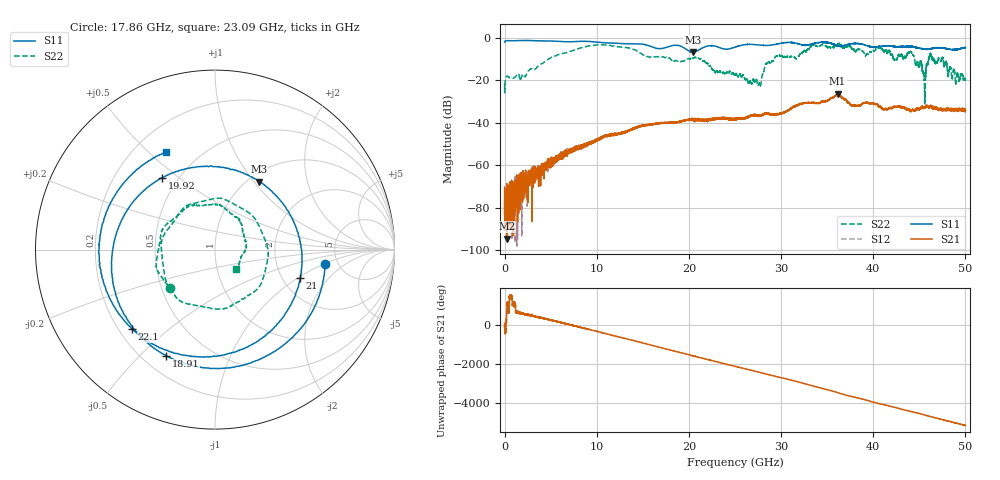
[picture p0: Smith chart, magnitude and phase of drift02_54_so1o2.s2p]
!Created with skrf (http://scikit-rf.org).
# Hz S RI R 50.0
!freq ReS11 ImS11 ReS21 ImS21 ReS12 ImS12 ReS22 ImS22
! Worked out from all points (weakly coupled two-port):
!   10001 points, 300 kHz to 50 GHz, reference 50 ohm
!   highest |S21| = -26.28 dB at 36.13 GHz (marker M1); lowest = -94.4 dB at 265.3 MHz (marker M2)
!   lowest |S11| = -6.9 dB at 20.42 GHz (marker M3), VSWR 2.64, Z = 55.9 + j53.1 ohm
!   |S11| at or under -10 dB: nowhere
!   |S22| runs from -31.5 to -2.6 dB; largest |S21 - S12| = 0.0054
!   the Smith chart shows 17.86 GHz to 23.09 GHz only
!   S11 on the Smith chart (normalised r, x): 17.86 GHz: 3.95, -1.06; 18.91 GHz: 0.29, -0.60; 19.92 GHz: 0.41, +0.44; 21 GHz: 2.49, -1.06; 22.1 GHz: 0.25, -0.38; 23.09 GHz: 0.33, +0.57
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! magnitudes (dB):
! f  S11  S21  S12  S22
! 300 kHz  -2.1  -77.2  -69.7  -21.7
! 265.3 MHz  -1.4  -94.4  -74.3  -18.2
! 8.335 GHz  -1.7  -50.3  -51.3  -4.7
! 16.67 GHz  -5.2  -40.5  -40.3  -9.0
! 17.86 GHz  -4.2  -40.0  -40.0  -9.6
! 18.91 GHz  -3.7  -39.8  -39.7  -10.8
! 19.92 GHz  -6.1  -38.6  -38.9  -9.9
! 20.42 GHz  -6.9  -38.5  -38.2  -9.8
! 21 GHz  -6.0  -38.8  -38.7  -9.4
! 22.1 GHz  -3.9  -38.6  -38.8  -12.6
! 23.09 GHz  -4.3  -37.9  -38.0  -15.9
! 25 GHz  -4.5  -38.0  -38.1  -17.7
! 27.63 GHz  -3.5  -36.7  -36.5  -21.4
! 28.43 GHz  -3.7  -35.6  -35.6  -12.2
! 29.54 GHz  -3.0  -36.3  -36.0  -8.8
! 33.34 GHz  -3.1  -30.6  -30.5  -3.8
! 36.13 GHz  -3.9  -26.3  -26.9  -3.1
! 41.67 GHz  -3.9  -33.3  -33.3  -6.1
! 44.15 GHz  -4.2  -34.1  -34.2  -7.2
! 45.5 GHz  -5.2  -33.0  -33.3  -17.8
! 46.29 GHz  -5.2  -32.4  -32.2  -9.1
! 50 GHz  -4.7  -34.0  -34.3  -19.7
